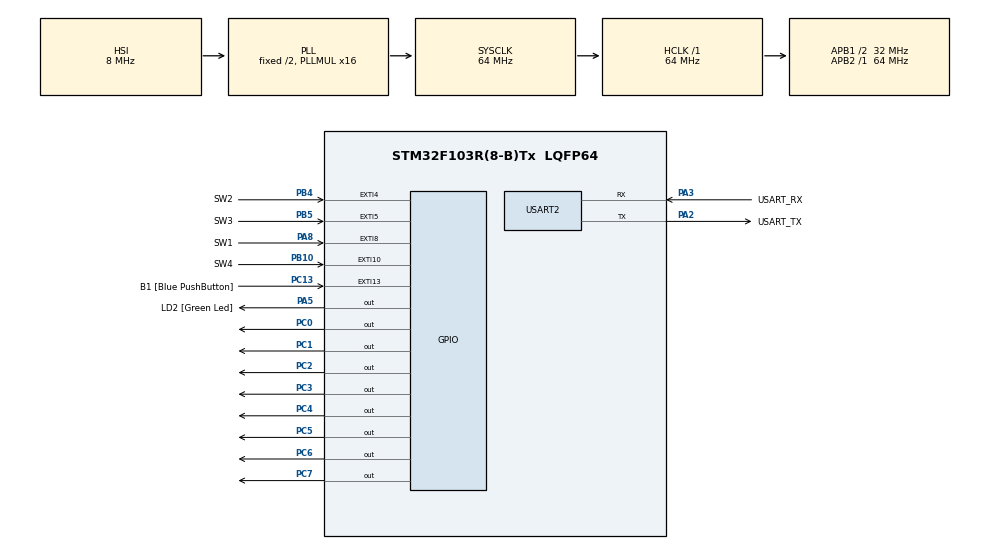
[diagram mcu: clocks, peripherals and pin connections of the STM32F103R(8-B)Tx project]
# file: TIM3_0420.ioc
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Mcu.Family=STM32F1
Mcu.Name=STM32F103R(8-B)Tx
Mcu.Package=LQFP64
NVIC.EXTI15_10_IRQn=true\:0\:0\:false\:false\:true\:true\:true\:true
NVIC.EXTI4_IRQn=true\:0\:0\:false\:false\:true\:true\:true\:true
NVIC.EXTI9_5_IRQn=true\:0\:0\:false\:false\:true\:true\:true\:true
NVIC.PriorityGroup=NVIC_PRIORITYGROUP_4
NVIC.TIM2_IRQn=true\:0\:0\:false\:false\:true\:true\:true\:true
PA13.GPIO_Label=TMS
PA13.Mode=Serial_Wire
PA13.Signal=SYS_JTMS-SWDIO
PA14.GPIO_Label=TCK
PA14.Mode=Serial_Wire
PA14.Signal=SYS_JTCK-SWCLK
PA2.GPIO_Label=USART_TX
PA2.GPIO_Mode=GPIO_MODE_AF_PP
PA2.GPIO_PuPd=GPIO_NOPULL
PA2.GPIO_Speed=GPIO_SPEED_FREQ_LOW
PA2.Mode=Asynchronous
PA2.Signal=USART2_TX
PA3.GPIO_Label=USART_RX
PA3.GPIO_Mode=GPIO_MODE_AF_PP
PA3.GPIO_PuPd=GPIO_NOPULL
PA3.GPIO_Speed=GPIO_SPEED_FREQ_LOW
PA3.Mode=Asynchronous
PA3.Signal=USART2_RX
PA5.GPIO_Label=LD2 [Green Led]
PA5.GPIO_ModeDefaultOutputPP=GPIO_MODE_OUTPUT_PP
PA5.GPIO_PuPd=GPIO_NOPULL
PA5.GPIO_Speed=GPIO_SPEED_FREQ_LOW
PA5.Signal=GPIO_Output
PA8.GPIO_Label=SW1
PA8.GPIO_ModeDefaultEXTI=GPIO_MODE_IT_FALLING
PA8.Signal=GPXTI8
PB10.GPIO_Label=SW4
PB10.GPIO_ModeDefaultEXTI=GPIO_MODE_IT_FALLING
PB10.Signal=GPXTI10
PB3.GPIO_Label=SWO
PB3.Signal=SYS_JTDO-TRACESWO
PB4.GPIO_Label=SW2
PB4.GPIO_ModeDefaultEXTI=GPIO_MODE_IT_FALLING
PB4.Signal=GPXTI4
PB5.GPIO_Label=SW3
PB5.GPIO_ModeDefaultEXTI=GPIO_MODE_IT_FALLING
PB5.Signal=GPXTI5
PC0.Signal=GPIO_Output
PC1.Signal=GPIO_Output
PC13-TAMPER-RTC.GPIO_Label=B1 [Blue PushButton]
PC13-TAMPER-RTC.GPIO_PuPd=GPIO_NOPULL
PC13-TAMPER-RTC.Signal=GPXTI13
PC14-OSC32_IN.Mode=LSE-External-Oscillator
PC14-OSC32_IN.Signal=RCC_OSC32_IN
PC15-OSC32_OUT.Mode=LSE-External-Oscillator
PC15-OSC32_OUT.Signal=RCC_OSC32_OUT
PC2.Signal=GPIO_Output
PC3.Signal=GPIO_Output
PC4.Signal=GPIO_Output
PC5.Signal=GPIO_Output
PC6.Signal=GPIO_Output
PC7.Signal=GPIO_Output
PD0-OSC_IN.Mode=HSE-External-Clock-Source
PD0-OSC_IN.Signal=RCC_OSC_IN
PD1-OSC_OUT.Mode=HSE-External-Clock-Source
PD1-OSC_OUT.Signal=RCC_OSC_OUT
ProjectManager.HeapSize=0x200
ProjectManager.StackSize=0x400
ProjectManager.TargetToolchain=STM32CubeIDE
RCC.AHBFreq_Value=64000000
RCC.APB1CLKDivider=RCC_HCLK_DIV2
RCC.APB1Freq_Value=32000000
RCC.APB1TimFreq_Value=64000000
RCC.APB2Freq_Value=64000000
RCC.APB2TimFreq_Value=64000000
RCC.HCLKFreq_Value=64000000
RCC.PLLMUL=RCC_PLL_MUL16
RCC.RTCClockSelection=RCC_RTCCLKSOURCE_LSE
RCC.SYSCLKFreq_VALUE=64000000
RCC.SYSCLKSource=RCC_SYSCLKSOURCE_PLLCLK
RCC.USBFreq_Value=64000000
TIM2.Channel-Output\ Compare1\ No\ Output=TIM_CHANNEL_1
TIM2.Period=10000-1
TIM2.Prescaler=6400-1
TIM2.Pulse-Output\ Compare1\ No\ Output=9999
USART2.VirtualMode=VM_ASYNC
VP_TIM2_VS_ClockSourceINT.Mode=Internal
VP_TIM2_VS_no_output1.Mode=Output Compare1 No Output
board=NUCLEO-F103RB

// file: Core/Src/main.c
/* USER CODE BEGIN Header */
/**
  ******************************************************************************
  * @file           : main.c
  * @brief          : Main program body
  ******************************************************************************
  * @attention
  *
  * Copyright (c) 2022 STMicroelectronics.
  * All rights reserved.
  *
  * This software is licensed under terms that can be found in the LICENSE file
  * in the root directory of this software component.
  * If no LICENSE file comes with this software, it is provided AS-IS.
  *
  ******************************************************************************
  */
/* USER CODE END Header */
#include "main.h"

/* USER CODE BEGIN Includes */
	uint8_t flag_SW1;
	uint8_t flag_SW2;
	uint8_t flag_SW3;
	uint8_t flag_SW4;

/* USER CODE END Includes */

 TIM_HandleTypeDef htim2;

UART_HandleTypeDef huart2;

void SystemClock_Config(void);
static void MX_GPIO_Init(void);
static void MX_USART2_UART_Init(void);
static void MX_TIM2_Init(void);

int main(void)
{

  /* MCU Configuration--------------------------------------------------------*/

  /* Reset of all peripherals, Initializes the Flash interface and the Systick. */
  HAL_Init();

  /* Configure the system clock */
  SystemClock_Config();

  /* Initialize all configured peripherals */
  MX_GPIO_Init();
  MX_USART2_UART_Init();
  MX_TIM2_Init();
  /* USER CODE BEGIN 2 */
  if(HAL_TIM_Base_Start_IT(&htim2) != HAL_OK)  //1초마?�� ?��?��?��?�� 발생
    {
  	  Error_Handler();
    }
  if(HAL_TIM_OC_Start_IT(&htim2, TIM_CHANNEL_1) != HAL_OK)
    {
  	  Error_Handler();
    }

  /* USER CODE END 2 */

  /* Infinite loop */
  while (1)
  {

  }
}

void SystemClock_Config(void)
{
  RCC_OscInitTypeDef RCC_OscInitStruct = {0};
  RCC_ClkInitTypeDef RCC_ClkInitStruct = {0};

  /** Initializes the RCC Oscillators according to the specified parameters
  * in the RCC_OscInitTypeDef structure.
  */
  RCC_OscInitStruct.OscillatorType = RCC_OSCILLATORTYPE_HSI;
  RCC_OscInitStruct.HSIState = RCC_HSI_ON;
  RCC_OscInitStruct.HSICalibrationValue = RCC_HSICALIBRATION_DEFAULT;
  RCC_OscInitStruct.PLL.PLLState = RCC_PLL_ON;
  RCC_OscInitStruct.PLL.PLLSource = RCC_PLLSOURCE_HSI_DIV2;
  RCC_OscInitStruct.PLL.PLLMUL = RCC_PLL_MUL16;
  if (HAL_RCC_OscConfig(&RCC_OscInitStruct) != HAL_OK)
  {
    Error_Handler();
  }

  /** Initializes the CPU, AHB and APB buses clocks
  */
  RCC_ClkInitStruct.ClockType = RCC_CLOCKTYPE_HCLK|RCC_CLOCKTYPE_SYSCLK
                              |RCC_CLOCKTYPE_PCLK1|RCC_CLOCKTYPE_PCLK2;
  RCC_ClkInitStruct.SYSCLKSource = RCC_SYSCLKSOURCE_PLLCLK;
  RCC_ClkInitStruct.AHBCLKDivider = RCC_SYSCLK_DIV1;
  RCC_ClkInitStruct.APB1CLKDivider = RCC_HCLK_DIV2;
  RCC_ClkInitStruct.APB2CLKDivider = RCC_HCLK_DIV1;

  if (HAL_RCC_ClockConfig(&RCC_ClkInitStruct, FLASH_LATENCY_2) != HAL_OK)
  {
    Error_Handler();
  }
}

static void MX_TIM2_Init(void)
{

  TIM_ClockConfigTypeDef sClockSourceConfig = {0};
  TIM_MasterConfigTypeDef sMasterConfig = {0};
  TIM_OC_InitTypeDef sConfigOC = {0};

  htim2.Instance = TIM2;
  htim2.Init.Prescaler = 6400-1;
  htim2.Init.CounterMode = TIM_COUNTERMODE_UP;
  htim2.Init.Period = 10000-1;
  htim2.Init.ClockDivision = TIM_CLOCKDIVISION_DIV1;
  htim2.Init.AutoReloadPreload = TIM_AUTORELOAD_PRELOAD_DISABLE;
  if (HAL_TIM_Base_Init(&htim2) != HAL_OK)
  {
    Error_Handler();
  }
  sClockSourceConfig.ClockSource = TIM_CLOCKSOURCE_INTERNAL;
  if (HAL_TIM_ConfigClockSource(&htim2, &sClockSourceConfig) != HAL_OK)
  {
    Error_Handler();
  }
  if (HAL_TIM_OC_Init(&htim2) != HAL_OK)
  {
    Error_Handler();
  }
  sMasterConfig.MasterOutputTrigger = TIM_TRGO_RESET;
  sMasterConfig.MasterSlaveMode = TIM_MASTERSLAVEMODE_DISABLE;
  if (HAL_TIMEx_MasterConfigSynchronization(&htim2, &sMasterConfig) != HAL_OK)
  {
    Error_Handler();
  }
  sConfigOC.OCMode = TIM_OCMODE_TIMING;
  sConfigOC.Pulse = 9999;
  sConfigOC.OCPolarity = TIM_OCPOLARITY_HIGH;
  sConfigOC.OCFastMode = TIM_OCFAST_DISABLE;
  if (HAL_TIM_OC_ConfigChannel(&htim2, &sConfigOC, TIM_CHANNEL_1) != HAL_OK)
  {
    Error_Handler();
  }

}

static void MX_USART2_UART_Init(void)
{

  huart2.Instance = USART2;
  huart2.Init.BaudRate = 115200;
  huart2.Init.WordLength = UART_WORDLENGTH_8B;
  huart2.Init.StopBits = UART_STOPBITS_1;
  huart2.Init.Parity = UART_PARITY_NONE;
  huart2.Init.Mode = UART_MODE_TX_RX;
  huart2.Init.HwFlowCtl = UART_HWCONTROL_NONE;
  huart2.Init.OverSampling = UART_OVERSAMPLING_16;
  if (HAL_UART_Init(&huart2) != HAL_OK)
  {
    Error_Handler();
  }

}

static void MX_GPIO_Init(void)
{
  GPIO_InitTypeDef GPIO_InitStruct = {0};

  /* GPIO Ports Clock Enable */
  __HAL_RCC_GPIOC_CLK_ENABLE();
  __HAL_RCC_GPIOD_CLK_ENABLE();
  __HAL_RCC_GPIOA_CLK_ENABLE();
  __HAL_RCC_GPIOB_CLK_ENABLE();

  /*Configure GPIO pin Output Level */
  HAL_GPIO_WritePin(GPIOC, GPIO_PIN_0|GPIO_PIN_1|GPIO_PIN_2|GPIO_PIN_3
                          |GPIO_PIN_4|GPIO_PIN_5|GPIO_PIN_6|GPIO_PIN_7, GPIO_PIN_RESET);

  /*Configure GPIO pin Output Level */
  HAL_GPIO_WritePin(LD2_GPIO_Port, LD2_Pin, GPIO_PIN_RESET);

  /*Configure GPIO pin : B1_Pin */
  GPIO_InitStruct.Pin = B1_Pin;
  GPIO_InitStruct.Mode = GPIO_MODE_IT_RISING;
  GPIO_InitStruct.Pull = GPIO_NOPULL;
  HAL_GPIO_Init(B1_GPIO_Port, &GPIO_InitStruct);

  /*Configure GPIO pins : PC0 PC1 PC2 PC3
                           PC4 PC5 PC6 PC7 */
  GPIO_InitStruct.Pin = GPIO_PIN_0|GPIO_PIN_1|GPIO_PIN_2|GPIO_PIN_3
                          |GPIO_PIN_4|GPIO_PIN_5|GPIO_PIN_6|GPIO_PIN_7;
  GPIO_InitStruct.Mode = GPIO_MODE_OUTPUT_PP;
  GPIO_InitStruct.Pull = GPIO_NOPULL;
  GPIO_InitStruct.Speed = GPIO_SPEED_FREQ_LOW;
  HAL_GPIO_Init(GPIOC, &GPIO_InitStruct);

  /*Configure GPIO pin : LD2_Pin */
  GPIO_InitStruct.Pin = LD2_Pin;
  GPIO_InitStruct.Mode = GPIO_MODE_OUTPUT_PP;
  GPIO_InitStruct.Pull = GPIO_NOPULL;
  GPIO_InitStruct.Speed = GPIO_SPEED_FREQ_LOW;
  HAL_GPIO_Init(LD2_GPIO_Port, &GPIO_InitStruct);

  /*Configure GPIO pins : SW4_Pin SW2_Pin SW3_Pin */
  GPIO_InitStruct.Pin = SW4_Pin|SW2_Pin|SW3_Pin;
  GPIO_InitStruct.Mode = GPIO_MODE_IT_FALLING;
  GPIO_InitStruct.Pull = GPIO_NOPULL;
  HAL_GPIO_Init(GPIOB, &GPIO_InitStruct);

  /*Configure GPIO pin : SW1_Pin */
  GPIO_InitStruct.Pin = SW1_Pin;
  GPIO_InitStruct.Mode = GPIO_MODE_IT_FALLING;
  GPIO_InitStruct.Pull = GPIO_NOPULL;
  HAL_GPIO_Init(SW1_GPIO_Port, &GPIO_InitStruct);

  /* EXTI interrupt init*/
  HAL_NVIC_SetPriority(EXTI4_IRQn, 0, 0);
  HAL_NVIC_EnableIRQ(EXTI4_IRQn);

  HAL_NVIC_SetPriority(EXTI9_5_IRQn, 0, 0);
  HAL_NVIC_EnableIRQ(EXTI9_5_IRQn);

  HAL_NVIC_SetPriority(EXTI15_10_IRQn, 0, 0);
  HAL_NVIC_EnableIRQ(EXTI15_10_IRQn);

}

/* USER CODE BEGIN 4 */
void HAL_GPIO_EXTI_Callback(uint16_t GPIO_PIN)
{
	if(GPIO_PIN == SW1_Pin)
	{
	//sConfigOC.Pulse = 999;
	htim2.Instance ->CCR1 = 999;

	}
	if(GPIO_PIN == SW2_Pin)
	{ sConfigOC.Pulse = 2999;
	}
	if(GPIO_PIN == SW3_Pin)
	{ sConfigOC.Pulse = 4999;
	}
	if(GPIO_PIN == SW4_Pin)
	{ sConfigOC.Pulse = 9999;
	}
	if (HAL_TIM_OC_ConfigChannel(&htim2, &sConfigOC, TIM_CHANNEL_1) != HAL_OK)
		{
		  Error_Handler();
		}
}
void HAL_TIM_PeriodElapsedCallback(TIM_HandleTypeDef *htim)
{
	HAL_GPIO_WritePin(GPIOC, GPIO_PIN_All, GPIO_PIN_SET);
}
void HAL_TIM_OC_DelayElapsedCallback(TIM_HandleTypeDef *htim)
{
	HAL_GPIO_WritePin(GPIOC, GPIO_PIN_All, GPIO_PIN_RESET);
}
/* USER CODE END 4 */

void Error_Handler(void)
{
  __disable_irq();
  while (1)
  {
  }
}
